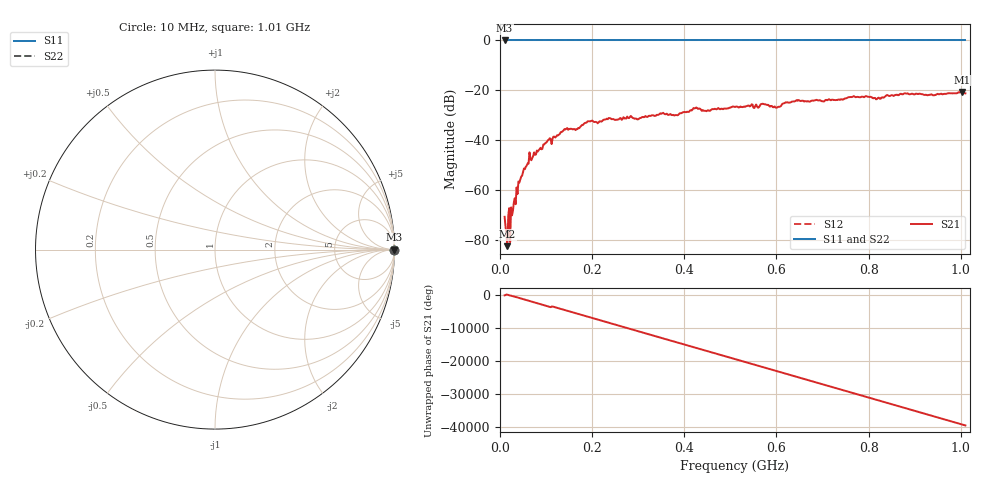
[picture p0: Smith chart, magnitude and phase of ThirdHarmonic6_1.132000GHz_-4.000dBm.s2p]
! 8/16/2025 11:01:00 AM
! C:\ANRITSUVNA\TEMP\TEMP.S2P
! CHANNEL.1
! TR.MEASUREMENT
! RAW.DATA
! RF.CORRECTION.OFF
! AVERAGING.OFF
! IF.BANDWIDTH: 5KHZ
! SWEEPTYPE:  FREQ.SWEEP(Linear)
! Reference Plane Port Info
! PORT:  PORT1  PORT2
! DISTANCE:  0  m  0  m
! TIME:  0  s  0  s
! PHASE.OFFSET:  0  deg.  0  deg.
! LOSS:  0  dB  0  dB
! REF.LOSS:  0  dB  0  dB
! REF.FREQ:  0  Hz  0  Hz
! Power Info
! POWER:  -20  dBm  -20  dBm
! EFF.POWER:  -20  dBm  -20  dBm
! SOURCE.ATTEN:  0  dB  0  dB
! TEST.ATTEN:  0  dB  0  dB
# GHZ S RI R 50.0
! FREQ.GHZ  S11RE  S11IM  S21RE  S21IM  S12RE  S12IM  S22RE  S22IM
!; PortSelection: Port_12
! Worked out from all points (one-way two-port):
!   501 points, 10 MHz to 1.01 GHz, reference 50 ohm
!   highest |S21| = -20.64 dB at 1.002 GHz (marker M1); lowest = -82.3 dB at 16 MHz (marker M2)
!   lowest |S11| = 0.0 dB at 10 MHz (marker M3)
!   |S11| at or under -10 dB: nowhere
!   |S22| runs from 0.0 to 0.0 dB; largest |S21 - S12| = 1.1
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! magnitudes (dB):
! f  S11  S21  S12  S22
! 10 MHz  0.0  -70.6  0.0  0.0
! 12 MHz  0.0  -74.2  0.0  0.0
! 16 MHz  0.0  -82.3  0.0  0.0
! 18 MHz  0.0  -69.9  0.0  0.0
! 22 MHz  0.0  -80.7  0.0  0.0
! 26 MHz  0.0  -70.0  0.0  0.0
! 28 MHz  0.0  -68.3  0.0  0.0
! 44 MHz  0.0  -55.7  0.0  0.0
! 62 MHz  0.0  -49.3  0.0  0.0
! 106 MHz  0.0  -39.7  0.0  0.0
! 142 MHz  0.0  -35.6  0.0  0.0
! 178 MHz  0.0  -33.8  0.0  0.0
! 196 MHz  0.0  -32.4  0.0  0.0
! 344 MHz  0.0  -29.8  0.0  0.0
! 510 MHz  0.0  -26.7  0.0  0.0
! 570 MHz  0.0  -25.3  0.0  0.0
! 602 MHz  0.0  -26.8  0.0  0.0
! 644 MHz  0.0  -23.9  0.0  0.0
! 678 MHz  0.0  -24.0  0.0  0.0
! 844 MHz  0.0  -22.2  0.0  0.0
! 1.002 GHz  0.0  -20.6  0.0  0.0
! 1.01 GHz  0.0  -21.2  0.0  0.0
